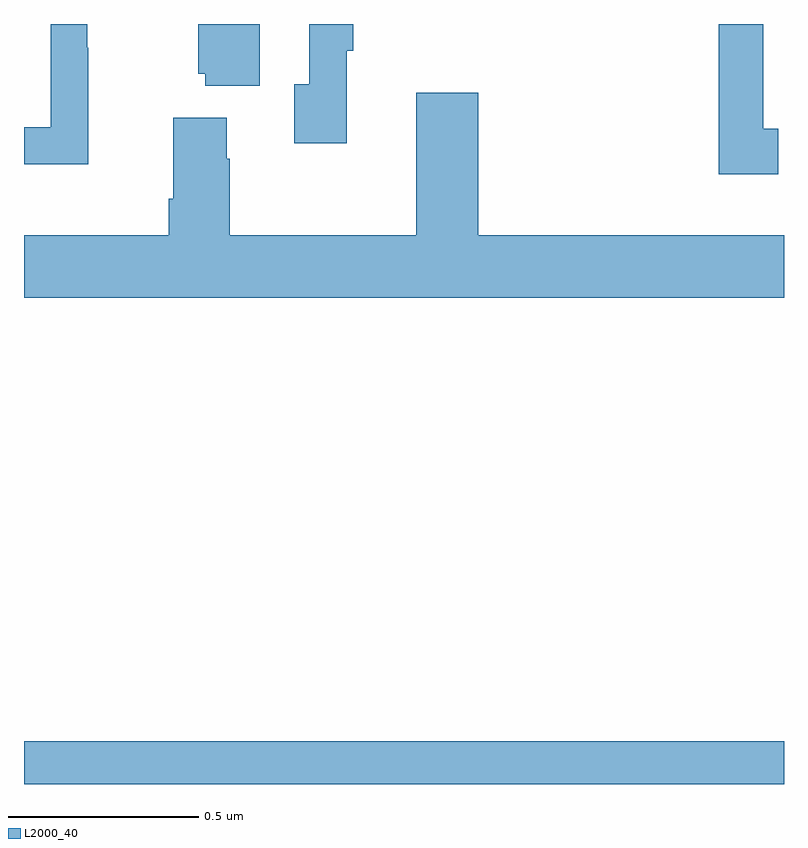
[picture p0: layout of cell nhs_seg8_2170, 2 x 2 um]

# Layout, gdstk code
import gdstk
lib = gdstk.Library(unit=1e-6, precision=1e-09)
def R(c, l, rs):  # rectangles x0, y0, x1, y1
    for r in rs: c.add(gdstk.rectangle(r[:2], r[2:], *l))
def P(c, l, *ps):  # polygons
    for p in ps: c.add(gdstk.Polygon(p, *l))
L2000_40 = (2000, 40)

nhs_seg8_2170 = lib.new_cell('nhs_seg8_2170')
R(nhs_seg8_2170, L2000_40, [(140,1101.9,142,1102.012)])
P(nhs_seg8_2170, L2000_40, [(140.169,1103.837),(140.166,1103.837),(140.166,1103.9),(140.07,1103.9),(140.07,1103.628),(140,1103.628),(140,1103.531),(140.169,1103.531)],
  [(140.849,1103.83),(140.867,1103.83),(140.867,1103.9),(140.751,1103.9),(140.751,1103.742),(140.711,1103.742),(140.711,1103.586),(140.849,1103.586)],
  [(140.62,1103.9),(140.459,1103.9),(140.459,1103.769),(140.477,1103.769),(140.477,1103.738),(140.62,1103.738)],
  [(141.985,1103.625),(141.946,1103.625),(141.946,1103.9),(141.828,1103.9),(141.828,1103.505),(141.985,1103.505)],
  [(142,1103.344),(141.196,1103.344),(141.196,1103.719),(141.032,1103.719),(141.032,1103.344),(140.541,1103.344),(140.541,1103.546),(140.533,1103.546),(140.533,1103.653),(140.393,1103.653),(140.393,1103.44),(140.381,1103.44),(140.381,1103.344),(140,1103.344),(140,1103.18),(142,1103.18)])

lib.write_gds('nhs_seg8_2170.gds')
